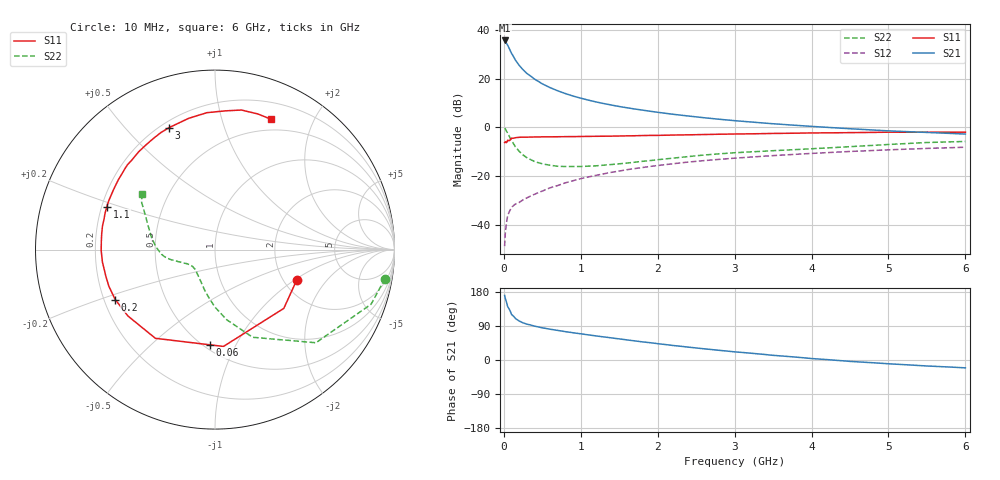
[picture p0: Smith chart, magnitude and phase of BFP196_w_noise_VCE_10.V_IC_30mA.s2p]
! Infineon Technologies  Discrete & RF Semiconductors
! BFP196
! VCE =  10. V,  IC =  30 mA
! Common Emitter S-Parameters:  Jan 2017
# GHz  S  MA  R  50
!  f  S11  S21  S12  S22
! GHz  MAG  ANG  MAG  ANG  MAG  ANG  MAG  ANG
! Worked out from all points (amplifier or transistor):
!   77 points, 10 MHz to 6 GHz, reference 50 ohm
!   highest |S21| = 35.7 dB at 10 MHz (marker M1)
!   |S21| within 3 dB of that: start of sweep to 65.82 MHz
!   unconditionally stable (mu >= 1): 675.6 MHz to 2.389 GHz
!   at 130 MHz: K = 0.46, MSG = 30.4 dB, |S12| = -32.1 dB
!   at 2.2 GHz: K = 1.01, MAG = 9.5 dB, |S12| = -15.0 dB
!   at 6 GHz: K = 0.93, MSG = 2.7 dB, |S12| = -8.2 dB
!   lowest NFmin = 1.22 dB at 450 MHz
!   S11 on the Smith chart (normalised r, x): 10 MHz: 2.34, -1.05; 60 MHz: 0.54, -0.79; 200 MHz: 0.25, -0.22; 1.1 GHz: 0.22, +0.18; 3 GHz: 0.23, +0.67; 6 GHz: 0.37, +1.45
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0.01  0.4858 -20.6  60.66 170.4  0.0036 72.6  0.9607 -9.7
0.02  0.5042 -40.5  59.45 161.9  0.007 78.8  0.9213 -19.3
0.05  0.5416 -85.0  48.27 140.6  0.0153 58.8  0.7653 -42.7
0.06  0.5313 -93.1  44.87 137.7  0.0167 56.3  0.7108 -46.2
0.1  0.5955 -123.9  33.06 120.2  0.0226 49.7  0.532 -66.7
0.15  0.6101 -142.7  24 109.6  0.0264 47.9  0.3965 -80.5
0.2  0.6216 -153.4  18.65 102.8  0.0285 49.5  0.3194 -90.2
0.25  0.6257 -161.0  15.16 98.0  0.0323 50.7  0.2696 -97.3
0.3  0.626 -166.2  12.73 94.6  0.0354 52.2  0.2358 -103.8
0.4  0.6312 -173.8  9.702 89.2  0.042 55.9  0.1973 -113.1
0.5  0.6342 -179.6  7.789 84.9  0.0488 58.3  0.1772 -120.8
0.6  0.635 175.7  6.528 81.3  0.0569 60.1  0.1655 -127.2
0.7  0.6376 171.8  5.605 78.1  0.0634 61.3  0.1579 -132.0
0.9  0.6411 164.7  4.37 71.9  0.0796 61.5  0.156 -139.3
1.1  0.6487 158.3  3.603 66.3  0.0953 61.3  0.1586 -145.1
1.5  0.6601 146.7  2.666 55.7  0.1259 58.1  0.1774 -154.0
2.1  0.6852 130.5  1.935 40.8  0.1706 51.9  0.2234 -163.4
3  0.7261 110.6  1.364 21.5  0.2314 41.1  0.2994 -175.1
3.1  0.7285 108.7  1.325 19.9  0.2372 39.9  0.305 -176.7
4.1  0.7651 92.0  1.018 2.5  0.2951 28.4  0.3681 166.8
5.1  0.7907 78.0  0.829 -11.1  0.348 17.0  0.4506 151.3
6  0.7907 66.8  0.724 -20.7  0.3886 6.8  0.51 142.9
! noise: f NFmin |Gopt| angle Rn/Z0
0.45  1.22  0.34  169  0.05
0.9  1.38  0.45  -172  0.06
1.9  2.24  0.68  -135  0.25
2.4  2.64  0.71  -121  0.6
